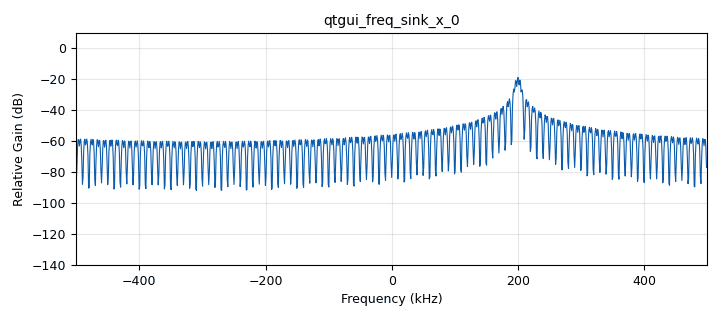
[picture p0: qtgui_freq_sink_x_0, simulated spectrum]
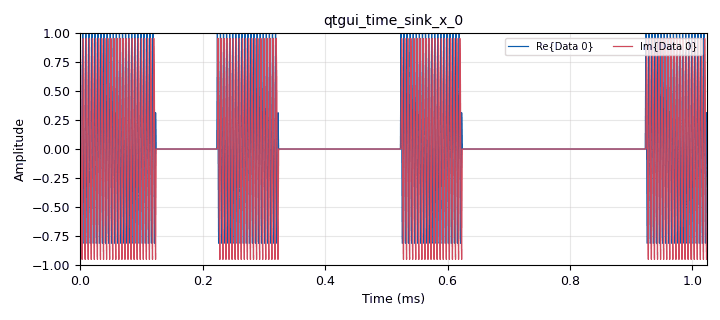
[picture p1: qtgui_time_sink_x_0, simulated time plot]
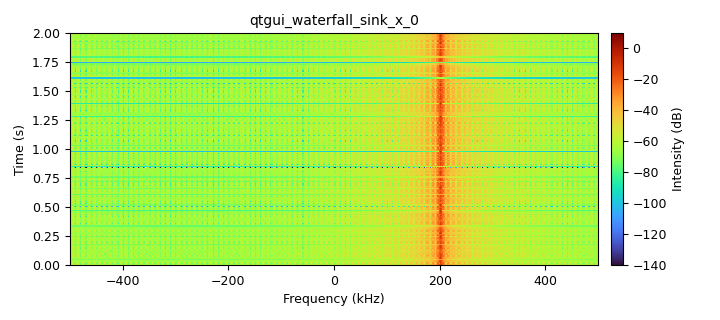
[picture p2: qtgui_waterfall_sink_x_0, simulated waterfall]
options:
  parameters:
    author: zxkmm
    generate_options: qt_gui
    id: sinc_gibbs_demo
    output_language: python
    title: sinc_gibbs_demo
  states: {}

blocks:
- name: lpf_bypass
  id: variable_qtgui_chooser
  parameters:
    num_opts: '2'
    option0: '0'
    option1: '1'
    type: int
    value: '0'
  states: {}
- name: samp_rate
  id: variable_qtgui_entry
  parameters:
    type: real
    value: 1e6
  states: {}
- name: sps
  id: variable_qtgui_entry
  parameters:
    type: int
    value: '100'
  states: {}
- name: analog_random_uniform_source_x_0
  id: analog_random_uniform_source_x
  parameters:
    maximum: '2'
    minimum: '0'
    seed: '0'
    type: byte
  states: {}
- name: analog_sig_source_x_0
  id: analog_sig_source_x
  parameters:
    amp: '1'
    freq: 200e3
    offset: '0'
    phase: '0'
    samp_rate: samp_rate
    type: complex
    waveform: analog.GR_COS_WAVE
  states: {}
- name: blocks_float_to_complex_0
  id: blocks_float_to_complex
  parameters: {}
  states: {}
- name: blocks_multiply_xx_0
  id: blocks_multiply_xx
  parameters:
    type: complex
  states: {}
- name: blocks_repeat_0
  id: blocks_repeat
  parameters:
    interp: sps
    type: complex
  states: {}
- name: blocks_throttle2_0
  id: blocks_throttle2
  parameters:
    samples_per_second: samp_rate
    type: complex
  states: {}
- name: blocks_uchar_to_float_0
  id: blocks_uchar_to_float
  parameters: {}
  states: {}
- name: qtgui_freq_sink_x_0
  id: qtgui_freq_sink_x
  parameters:
    bw: samp_rate
    ctrlpanel: 'True'
    fc: '0'
    fftsize: '1024'
    freqhalf: 'False'
    type: complex
  states: {}
- name: qtgui_time_sink_x_0
  id: qtgui_time_sink_x
  parameters:
    ctrlpanel: 'True'
    size: '1024'
    srate: samp_rate
    type: complex
  states: {}
- name: qtgui_waterfall_sink_x_0
  id: qtgui_waterfall_sink_x
  parameters:
    bw: samp_rate
    fc: '0'
    fftsize: '1024'
    freqhalf: 'False'
    type: complex
  states: {}

connections:
- [analog_random_uniform_source_x_0, '0', blocks_uchar_to_float_0, '0']
- [analog_sig_source_x_0, '0', blocks_multiply_xx_0, '1']
- [blocks_float_to_complex_0, '0', blocks_repeat_0, '0']
- [blocks_multiply_xx_0, '0', blocks_throttle2_0, '0']
- [blocks_repeat_0, '0', blocks_multiply_xx_0, '0']
- [blocks_throttle2_0, '0', qtgui_freq_sink_x_0, '0']
- [blocks_throttle2_0, '0', qtgui_time_sink_x_0, '0']
- [blocks_throttle2_0, '0', qtgui_waterfall_sink_x_0, '0']
- [blocks_uchar_to_float_0, '0', blocks_float_to_complex_0, '0']

metadata:
  file_format: 1
  grc_version: 3.10.12.0
